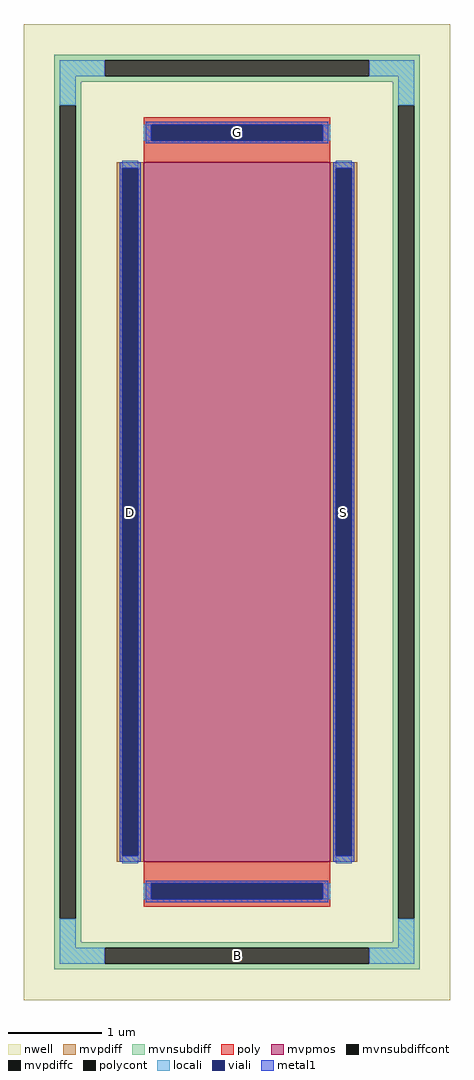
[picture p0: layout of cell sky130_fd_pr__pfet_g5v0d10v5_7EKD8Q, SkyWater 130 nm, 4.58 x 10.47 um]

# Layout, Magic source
magic
tech sky130A
magscale 1 2
<< nwell >>
rect -458 -1047 458 1047
<< mvpmos >>
rect -200 -750 200 750
<< mvpdiff >>
rect -258 738 -200 750
rect -258 -738 -246 738
rect -212 -738 -200 738
rect -258 -750 -200 -738
rect 200 738 258 750
rect 200 -738 212 738
rect 246 -738 258 738
rect 200 -750 258 -738
<< mvpdiffc >>
rect -246 -738 -212 738
rect 212 -738 246 738
<< mvnsubdiff >>
rect -392 969 392 981
rect -392 935 -284 969
rect 284 935 392 969
rect -392 923 392 935
rect -392 873 -334 923
rect -392 -873 -380 873
rect -346 -873 -334 873
rect 334 873 392 923
rect -392 -923 -334 -873
rect 334 -873 346 873
rect 380 -873 392 873
rect 334 -923 392 -873
rect -392 -935 392 -923
rect -392 -969 -284 -935
rect 284 -969 392 -935
rect -392 -981 392 -969
<< mvnsubdiffcont >>
rect -284 935 284 969
rect -380 -873 -346 873
rect 346 -873 380 873
rect -284 -969 284 -935
<< poly >>
rect -200 831 200 847
rect -200 797 -184 831
rect 184 797 200 831
rect -200 750 200 797
rect -200 -797 200 -750
rect -200 -831 -184 -797
rect 184 -831 200 -797
rect -200 -847 200 -831
<< polycont >>
rect -184 797 184 831
rect -184 -831 184 -797
<< locali >>
rect -380 935 -284 969
rect 284 935 380 969
rect -380 873 -346 935
rect 346 873 380 935
rect -200 797 -184 831
rect 184 797 200 831
rect -246 738 -212 754
rect -246 -754 -212 -738
rect 212 738 246 754
rect 212 -754 246 -738
rect -200 -831 -184 -797
rect 184 -831 200 -797
rect -380 -935 -346 -873
rect 346 -935 380 -873
rect -380 -969 -284 -935
rect 284 -969 380 -935
<< viali >>
rect -184 797 184 831
rect -246 -738 -212 738
rect 212 -738 246 738
rect -184 -831 184 -797
<< metal1 >>
rect -196 831 196 837
rect -196 797 -184 831
rect 184 797 196 831
rect -196 791 196 797
rect -252 738 -206 750
rect -252 -738 -246 738
rect -212 -738 -206 738
rect -252 -750 -206 -738
rect 206 738 252 750
rect 206 -738 212 738
rect 246 -738 252 738
rect 206 -750 252 -738
rect -196 -797 196 -791
rect -196 -831 -184 -797
rect 184 -831 196 -797
rect -196 -837 196 -831
<< labels >>
rlabel mvnsubdiffcont 0 -952 0 -952 0 B
port 1 nsew
rlabel mvpdiffc -229 0 -229 0 0 D
port 2 nsew
rlabel mvpdiffc 229 0 229 0 0 S
port 3 nsew
rlabel polycont 0 814 0 814 0 G
port 4 nsew
<< properties >>
string FIXED_BBOX -363 -952 363 952
string gencell sky130_fd_pr__pfet_g5v0d10v5
string library sky130
string parameters w 7.5 l 2 m 1 nf 1 diffcov 100 polycov 100 guard 1 glc 1 grc 1 gtc 1 gbc 1 tbcov 100 rlcov 100 topc 1 botc 1 poverlap 0 doverlap 1 lmin 0.50 wmin 0.42 class mosfet compatible {sky130_fd_pr__pfet_01v8  sky130_fd_pr__pfet_01v8_lvt sky130_fd_pr__pfet_01v8_hvt  sky130_fd_pr__pfet_g5v0d10v5} full_metal 1 conn_gates 0 viasrc 100 viadrn 100 viagate 100 viagb 0 viagr 0 viagl 0 viagt 0 doports 1
<< end >>
